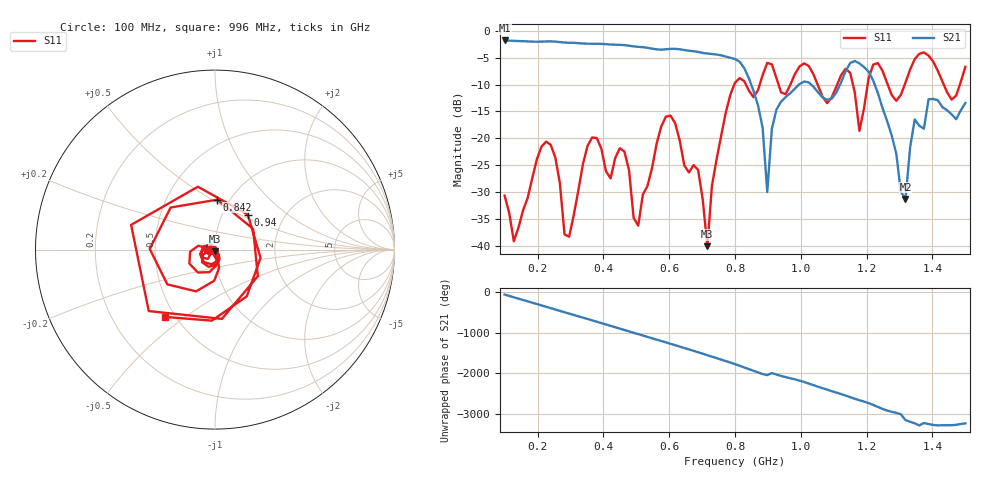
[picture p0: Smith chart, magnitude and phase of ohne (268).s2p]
! NanoVNA-App
! Date: 2025-09-25 14:22:53
! Start: 100MHz Stop: 1,5GHz Points: 101
! S-Parameter data: F S11 S21 S12 S22
# Hz S RI R 50
!  Frequency  S11_Real  S11_Imag  S21_Real  S21_Imag  S12_Real  S12_Imag  S22_Real  S22_Imag
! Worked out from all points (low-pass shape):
!   101 points, 100 MHz to 1.5 GHz, reference 50 ohm
!   highest |S21| = -1.79 dB at 100 MHz (marker M1); lowest = -31.3 dB at 1.318 GHz (marker M2)
!   |S21| within 3 dB of the highest: start of sweep to 772 MHz
!   lowest |S11| = -40.0 dB at 716 MHz (marker M3), VSWR 1.02, Z = 49.7 - j0.956 ohm
!   |S11| at or under -10 dB: start of sweep to 797.8 MHz; 833.2 MHz to 875.1 MHz (41.94 MHz wide, 4.91 % of centre); 1.051 GHz to 1.11 GHz (59.45 MHz wide, 5.5 % of centre) (the widest 3 of 7)
!   S12 and S22 are empty: the file has one direction only
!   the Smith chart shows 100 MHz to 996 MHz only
!   S11 on the Smith chart (normalised r, x): 100 MHz: 0.94, -0.01; 842 MHz: 0.88, +0.53; 940 MHz: 1.31, +0.55; 996 MHz: 0.44, -0.42
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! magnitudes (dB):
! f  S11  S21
! 100 MHz  -30.6  -1.8
! 128 MHz  -39.1  -1.9
! 226 MHz  -20.6  -2.0
! 296 MHz  -38.3  -2.2
! 338 MHz  -24.8  -2.4
! 464 MHz  -22.4  -2.7
! 506 MHz  -36.2  -3.0
! 576 MHz  -17.8  -3.5
! 688 MHz  -25.9  -3.9
! 716 MHz  -40.0  -4.2
! 800 MHz  -9.7  -5.3
! 842 MHz  -11.1  -8.8
! 898 MHz  -6.0  -30.0
! 940 MHz  -11.5  -13.2
! 996 MHz  -6.6  -9.9
! 1.038 GHz  -8.0  -10.4
! 1.178 GHz  -18.6  -6.1
! 1.22 GHz  -6.3  -9.3
! 1.276 GHz  -11.9  -19.4
! 1.318 GHz  -9.6  -31.3
! 1.346 GHz  -5.3  -16.5
! 1.5 GHz  -6.7  -13.4
